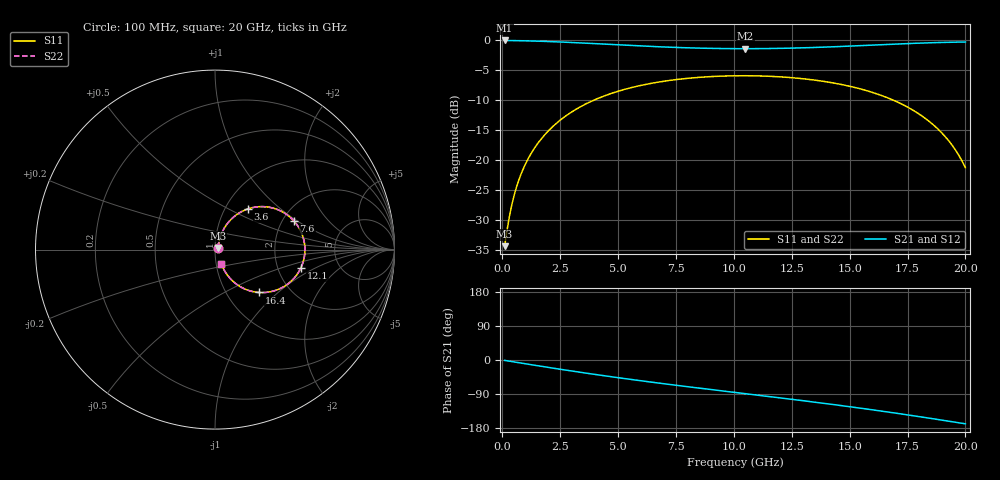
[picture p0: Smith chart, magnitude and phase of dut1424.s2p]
! Touchstone file exported from HFSS 2026.1.0
!  File:  C:/ffzhzh/LocalFiles/Ansys_Project_Files/temp_train_TSV_RDL_1424_1783354775_50076.aedt
!  Generated:  12:30:47 AM Jul  7, 2026
!  Design:  TSV_RDL
!  Project:  temp_train_TSV_RDL_1424_1783354775_50076
! Variables:
!  h_bsmrdl = 3.15um
!  h_ox = 20um
!  h_rdl = 5um
!  h_sub = 88.93um
!  h_tmrdl = 3.77um
!  h_tsv = 88.93um
!  h_via = 3um
!  l_bsmrdl = 428.41um
!  l_sub = 2633.49um
!  l_tmrdl = 213.38um
!  m_sub = 200um
!  pitch = 39.85um
!  r_tsv = 8.11um
!  s_tmrdl = 10um
!  w_bsmrdl = 13.58um
!  w_sub = 500um
!  w_tmrdl = 18um
!  x_tsv_center1 = 222.38um
!  x_tsv_center2 = 664.37um
!  x_tsv_center3 = 895.75um
!  x_tsv_center4 = 1337.74um
!  x_tsv_center5 = 1569.12um
!  x_tsv_center6 = 2011.11um
# GHz S MA R 50.000000
! Terminal data exported
! Port[1] = TM_RDL1_1_T1
! Port[2] = TM_RDL5_1_T1
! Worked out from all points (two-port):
!   200 points, 100 MHz to 20 GHz, reference 50 ohm
!   highest |S21| = -0.15 dB at 100 MHz (marker M1); lowest = -1.5 dB at 10.5 GHz (marker M2)
!   |S21| within 3 dB of the highest: start of sweep to end of sweep
!   lowest |S11| = -34.3 dB at 100 MHz (marker M3), VSWR 1.04, Z = 51.7 + j0.971 ohm
!   |S11| at or under -10 dB: start of sweep to 3.989 GHz; 16.85 GHz to end of sweep
!   |S22| runs from -34.3 to -6.0 dB; largest |S21 - S12| = 2.1e-14
!   S11 on the Smith chart (normalised r, x): 100 MHz: 1.03, +0.02; 3.6 GHz: 1.27, +0.63; 7.6 GHz: 2.30, +0.94; 12.1 GHz: 2.69, -0.72; 16.4 GHz: 1.41, -0.76; 20 GHz: 1.06, -0.17
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0.1  0.01929 29.1  0.9833 -1.0  0.9833 -1.0  0.01929 29.1
! Gamma 0 0 0 0
! Port Impedance 50 0 50 0
0.3  0.03341 55.4  0.9821 -3.1  0.9821 -3.1  0.03341 55.4
0.5  0.05002 63.5  0.9806 -5.1  0.9806 -5.1  0.05002 63.5
0.8  0.07562 67.3  0.9782 -8.0  0.9782 -8.0  0.07562 67.3
1.2  0.1097 67.5  0.9742 -12.0  0.9742 -12.0  0.1097 67.5
2.2  0.1912 62.0  0.9602 -21.6  0.9602 -21.6  0.1912 62.0
3.5  0.2852 51.8  0.9357 -33.6  0.9357 -33.6  0.2852 51.8
3.6  0.2917 51.0  0.9337 -34.5  0.9337 -34.5  0.2918 51.0
5.1  0.3773 39.0  0.9022 -47.5  0.9022 -47.5  0.3773 39.0
6.8  0.4456 25.9  0.8707 -61.2  0.8707 -61.2  0.4456 25.9
7.6  0.4679 20.0  0.8591 -67.4  0.8591 -67.4  0.4679 20.0
10.1  0.5007 2.1  0.8405 -86.0  0.8405 -86.0  0.5007 2.1
10.5  0.5011 -0.7  0.8401 -88.9  0.8401 -88.9  0.5011 -0.7
12.1  0.4892 -12.1  0.8461 -100.7  0.8461 -100.7  0.4892 -12.1
13.4  0.4633 -21.4  0.8589 -110.5  0.8589 -110.5  0.4633 -21.4
15  0.4099 -33.4  0.8825 -123.2  0.8825 -123.2  0.4099 -33.4
16.4  0.3423 -44.3  0.9071 -135.0  0.9071 -135.0  0.3423 -44.3
16.7  0.3252 -46.6  0.9124 -137.6  0.9124 -137.6  0.3252 -46.6
17.8  0.2551 -55.2  0.931 -147.5  0.931 -147.5  0.2551 -55.2
18.7  0.1897 -61.6  0.9435 -155.9  0.9435 -155.9  0.1897 -61.6
19.4  0.1349 -65.4  0.9507 -162.6  0.9507 -162.6  0.135 -65.4
20  0.08644 -65.7  0.9546 -168.4  0.9546 -168.4  0.08649 -65.7
